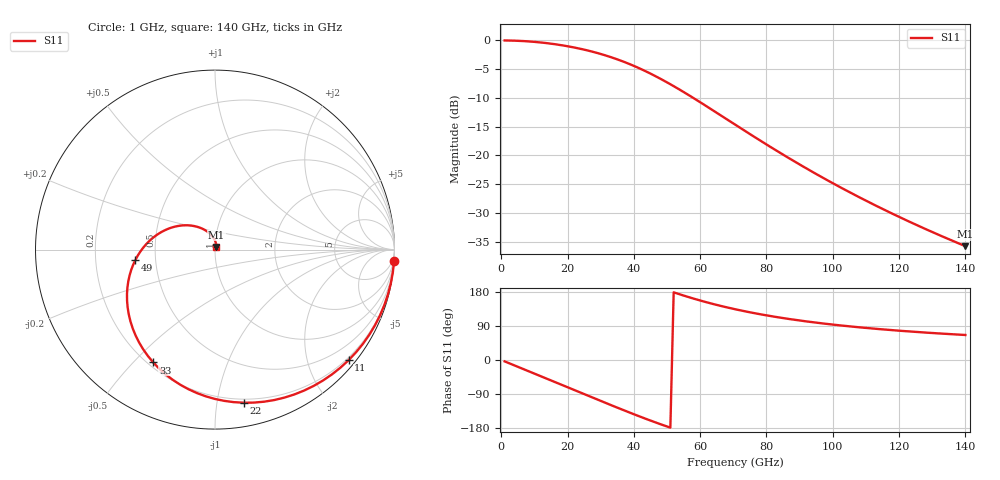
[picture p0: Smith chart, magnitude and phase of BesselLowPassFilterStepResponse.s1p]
! File created by SignalIntegrity v1.1.14: Signal and Power Integrity Tools
! https://github.com/TeledyneLeCroy/SignalIntegrity
# MHz S MA R 50.0
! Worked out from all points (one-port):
!   140 points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, 1 GHz to 140 GHz, reference 50 ohm
!   lowest |S11| = -35.8 dB at 140 GHz (marker M1), VSWR 1.03, Z = 50.6 + j1.5 ohm
!   |S11| at or under -10 dB: 57.92 GHz to end of sweep
!   S11 on the Smith chart (normalised r, x): 1 GHz: 0, -32; 11 GHz: 0.15, -2.77; 22 GHz: 0.17, -1.19; 33 GHz: 0.22, -0.57; 49 GHz: 0.38, -0.06; 140 GHz: 1.01, +0.03
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1000  0.9997 -3.6
3000  0.9975 -10.8
6000  0.9899 -21.6
8000  0.982 -28.8
11000  0.9661 -39.7
15000  0.9376 -54.1
17000  0.9202 -61.3
19000  0.9009 -68.5
22000  0.8683 -79.3
24000  0.8444 -86.5
27000  0.8052 -97.3
30000  0.7625 -108.0
33000  0.7166 -118.7
36000  0.6681 -129.3
39000  0.6177 -139.7
42000  0.5663 -149.9
45000  0.5148 -159.8
49000  0.448 -172.5
54000  0.3705 172.8
57000  0.3284 164.6
61000  0.2781 154.5
66000  0.2249 143.2
71000  0.1816 133.1
79000  0.1297 119.3
88000  0.09014 106.7
106000  0.04631 87.9
123000  0.02659 75.4
140000  0.01623 66.0
